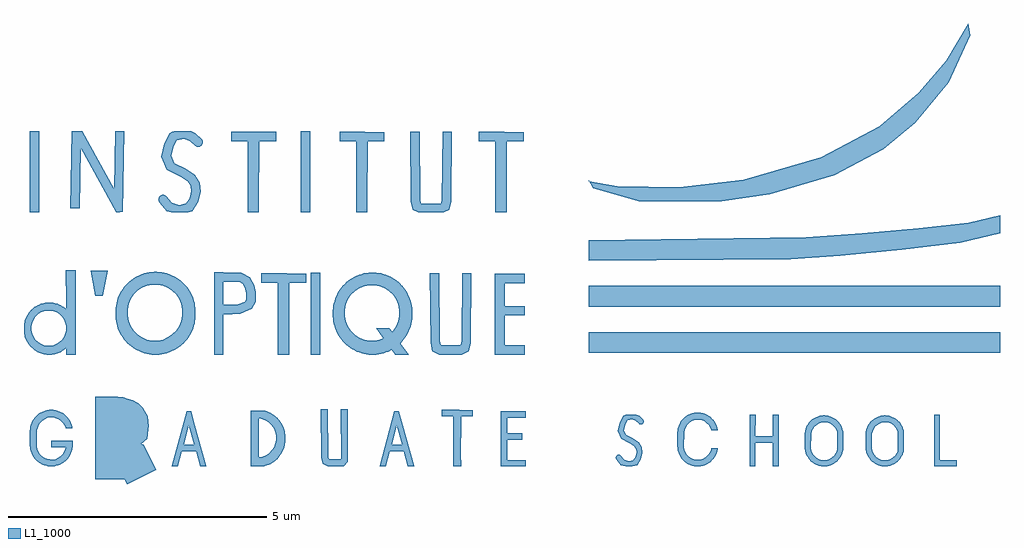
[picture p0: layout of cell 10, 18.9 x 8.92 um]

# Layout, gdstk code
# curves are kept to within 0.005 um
import gdstk
lib = gdstk.Library(unit=1e-6, precision=1e-09)
def R(c, l, rs):  # rectangles x0, y0, x1, y1
    for r in rs: c.add(gdstk.rectangle(r[:2], r[2:], *l))
def P(c, l, *ps):  # polygons
    for p in ps: c.add(gdstk.Polygon(p, *l))
L1_1000 = (1, 1000)

c_10 = lib.new_cell('10')
R(c_10, L1_1000, [(-38.244,58.999,-38.064,60.584), (-32.861,59.04,-24.9,59.437), (-32.861,59.933,-24.9,60.331), (-43.687,61.755,-43.507,63.325), (-38.436,61.755,-38.256,63.325)])
P(c_10, L1_1000, [(-37.914,56.838),(-38.013,56.888),(-38.041,57.011),(-38.049,57.942),(-37.917,57.942),(-37.909,57.027),(-37.898,56.978),(-37.883,56.971),(-37.671,56.971),(-37.659,56.986),(-37.667,57.942),(-37.535,57.942),(-37.535,56.928),(-37.61,56.838)],
  [(-37.37,61.755),(-37.37,63.135),(-37.687,63.135),(-37.687,63.315),(-37.197,63.315),(-37.197,63.312),(-36.82,63.312),(-36.82,63.135),(-37.147,63.135),(-37.153,61.91),(-37.153,61.91),(-37.153,61.755)],
  [(-34.672,61.755),(-34.672,63.135),(-34.99,63.135),(-34.99,63.315),(-34.499,63.315),(-34.499,63.312),(-34.122,63.312),(-34.122,63.135),(-34.45,63.135),(-34.455,61.91),(-34.455,61.91),(-34.455,61.755)],
  [(-36.165,61.755),(-36.27,61.807),(-36.307,61.976),(-36.319,63.314),(-36.139,63.314),(-36.127,61.996),(-36.113,61.93),(-36.092,61.92),(-35.741,61.92),(-35.721,61.93),(-35.706,61.996),(-35.694,63.314),(-35.514,63.314),(-35.526,61.975),(-35.563,61.807),(-35.668,61.755)],
  [(-40.12,58.999),(-40.12,60.593),(-39.59,60.589),(-39.433,60.504),(-39.378,60.409),(-39.94,60.409),(-39.94,59.964),(-39.773,59.964),(-39.655,59.973),(-39.52,60.029),(-39.495,60.075),(-39.495,60.189),(-39.511,60.28),(-39.564,60.37),(-39.636,60.409),(-39.378,60.409),(-39.34,60.344),(-39.315,60.205),(-39.315,60.028),(-39.393,59.886),(-39.613,59.796),(-39.766,59.784),(-39.94,59.784),(-39.94,58.999)],
  [(-38.885,58.999),(-38.885,60.395),(-39.202,60.395),(-39.202,60.575),(-38.712,60.575),(-38.712,60.572),(-38.335,60.572),(-38.335,60.395),(-38.662,60.395),(-38.668,59.17),(-38.668,59.17),(-38.668,58.999)],
  [(-37.074,58.999),(-37.217,59.017),(-37.355,59.062),(-37.44,59.106),(-37.52,59.16),(-37.625,59.259),(-37.71,59.376),(-37.754,59.461),(-37.787,59.552),(-37.814,59.694),(-37.817,59.849),(-37.799,59.992),(-37.754,60.129),(-37.71,60.215),(-37.656,60.295),(-37.557,60.4),(-37.44,60.485),(-37.31,60.546),(-37.17,60.582),(-37.026,60.591),(-36.882,60.573),(-36.745,60.529),(-36.619,60.459),(-36.542,60.4),(-36.49,60.348),(-37.113,60.348),(-37.215,60.328),(-37.31,60.288),(-37.397,60.231),(-37.47,60.157),(-37.528,60.071),(-37.568,59.975),(-37.588,59.873),(-37.588,59.747),(-37.568,59.645),(-37.528,59.549),(-37.47,59.463),(-37.397,59.389),(-37.31,59.331),(-37.215,59.292),(-37.113,59.272),(-37.009,59.272),(-36.907,59.292),(-36.839,59.32),(-36.981,59.513),(-36.725,59.513),(-36.673,59.441),(-36.594,59.549),(-36.554,59.645),(-36.534,59.747),(-36.534,59.873),(-36.554,59.975),(-36.594,60.071),(-36.651,60.157),(-36.725,60.231),(-36.811,60.288),(-36.907,60.328),(-37.009,60.348),(-36.49,60.348),(-36.389,60.215),(-36.328,60.085),(-36.292,59.945),(-36.283,59.742),(-36.301,59.599),(-36.346,59.461),(-36.415,59.335),(-36.511,59.22),(-36.351,59.002),(-36.606,59.002),(-36.676,59.097),(-36.79,59.044),(-36.882,59.017),(-36.978,59.002)],
  [(-35.433,58.999),(-35.755,59),(-35.891,59.067),(-35.928,59.236),(-35.94,60.574),(-35.76,60.574),(-35.748,59.256),(-35.734,59.19),(-35.713,59.18),(-35.581,59.179),(-35.363,59.179),(-35.342,59.19),(-35.327,59.256),(-35.316,60.574),(-35.136,60.574),(-35.147,59.235),(-35.184,59.067),(-35.32,58.999)],
  [(-34.682,58.999),(-34.682,60.566),(-34.671,60.566),(-34.671,60.566),(-34.103,60.566),(-34.103,60.386),(-34.491,60.386),(-34.491,59.943),(-34.103,59.943),(-34.103,59.763),(-34.491,59.763),(-34.491,59.179),(-34.103,59.179),(-34.103,58.999)],
  [(-35.488,56.838),(-35.488,57.806),(-35.708,57.806),(-35.708,57.931),(-35.368,57.931),(-35.368,57.928),(-35.107,57.928),(-35.107,57.806),(-35.334,57.806),(-35.338,56.957),(-35.337,56.957),(-35.337,56.838)],
  [(-34.571,56.838),(-34.571,57.904),(-34.563,57.904),(-34.563,57.904),(-34.079,57.904),(-34.079,57.782),(-34.44,57.782),(-34.44,57.481),(-34.151,57.481),(-34.151,57.358),(-34.44,57.358),(-34.44,56.961),(-34.079,56.961),(-34.079,56.838)],
  [(-26.177,56.838),(-26.177,57.837),(-26.063,57.837),(-26.063,56.952),(-25.738,56.952),(-25.738,56.838)],
  [(-42.274,60.139),(-42.424,60.143),(-42.508,60.626),(-42.496,60.626),(-42.496,60.629),(-42.175,60.629)],
  [(-42.986,58.999),(-42.986,59.125),(-43.065,59.067),(-43.119,59.039),(-43.207,59.011),(-43.267,59.002),(-43.328,59),(-43.419,59.011),(-43.506,59.039),(-43.587,59.084),(-43.635,59.121),(-43.698,59.188),(-43.76,59.293),(-43.794,59.41),(-43.798,59.569),(-43.781,59.659),(-43.76,59.717),(-43.698,59.822),(-43.611,59.909),(-43.534,59.958),(-43.478,59.982),(-43.358,60.008),(-43.236,60.005),(-43.148,59.982),(-43.092,59.958),(-42.986,59.885),(-42.991,60.637),(-42.8,60.637),(-42.801,59.856),(-43.353,59.856),(-43.418,59.843),(-43.478,59.818),(-43.533,59.781),(-43.58,59.735),(-43.616,59.68),(-43.642,59.619),(-43.655,59.554),(-43.655,59.474),(-43.642,59.41),(-43.616,59.349),(-43.58,59.294),(-43.533,59.247),(-43.478,59.211),(-43.418,59.185),(-43.353,59.172),(-43.287,59.172),(-43.222,59.185),(-43.161,59.211),(-43.106,59.247),(-43.06,59.294),(-43.023,59.349),(-42.998,59.41),(-42.986,59.468),(-42.986,59.561),(-42.998,59.619),(-43.023,59.68),(-43.06,59.735),(-43.106,59.781),(-43.161,59.818),(-43.222,59.843),(-43.287,59.856),(-42.801,59.856),(-42.801,58.999)],
  [(-42.018,61.755),(-42.703,63.008),(-42.725,61.832),(-42.905,61.835),(-42.878,63.33),(-42.674,63.33),(-42.057,62.202),(-42.036,63.33),(-41.856,63.33),(-41.885,61.77),(-41.947,61.755)],
  [(-39.467,61.755),(-39.467,63.135),(-39.785,63.135),(-39.785,63.315),(-38.917,63.315),(-38.917,63.135),(-39.245,63.135),(-39.251,61.91),(-39.25,61.91),(-39.25,61.755)],
  [(-40.949,61.755),(-41.038,61.779),(-41.182,61.954),(-41.197,62.004),(-41.19,62.039),(-41.17,62.068),(-41.124,62.093),(-41.072,62.088),(-41.042,62.068),(-40.935,61.938),(-40.792,61.899),(-40.656,61.932),(-40.59,62.03),(-40.561,62.166),(-40.572,62.271),(-40.629,62.357),(-40.76,62.443),(-41.036,62.581),(-41.138,62.837),(-41.082,63.085),(-40.974,63.288),(-40.928,63.317),(-40.895,63.325),(-40.564,63.325),(-40.483,63.292),(-40.359,63.175),(-40.338,63.127),(-40.341,63.092),(-40.357,63.06),(-40.399,63.03),(-40.452,63.029),(-40.484,63.045),(-40.582,63.138),(-40.697,63.184),(-40.843,63.152),(-40.912,63.022),(-40.95,62.852),(-40.894,62.712),(-40.67,62.599),(-40.498,62.487),(-40.398,62.333),(-40.379,62.156),(-40.422,61.958),(-40.545,61.774),(-40.622,61.755)],
  [(-43.285,56.838),(-43.387,56.855),(-43.482,56.896),(-43.564,56.959),(-43.628,57.041),(-43.661,57.111),(-43.68,57.186),(-43.685,57.533),(-43.669,57.635),(-43.64,57.708),(-43.598,57.773),(-43.545,57.83),(-43.504,57.862),(-43.412,57.909),(-43.337,57.928),(-43.259,57.933),(-43.133,57.909),(-43.062,57.875),(-42.999,57.83),(-42.946,57.773),(-42.905,57.708),(-42.876,57.635),(-42.863,57.575),(-42.992,57.575),(-43.014,57.634),(-43.045,57.681),(-43.084,57.721),(-43.13,57.752),(-43.181,57.774),(-43.236,57.786),(-43.292,57.787),(-43.347,57.776),(-43.445,57.725),(-43.485,57.686),(-43.517,57.64),(-43.55,57.534),(-43.554,57.229),(-43.544,57.174),(-43.523,57.122),(-43.453,57.036),(-43.407,57.004),(-43.356,56.982),(-43.301,56.971),(-43.245,56.97),(-43.19,56.98),(-43.092,57.031),(-43.052,57.07),(-43.02,57.117),(-42.99,57.207),(-43.269,57.207),(-43.269,57.333),(-42.858,57.333),(-42.858,57.207),(-42.884,57.111),(-42.905,57.063),(-42.946,56.998),(-42.999,56.941),(-43.108,56.872),(-43.208,56.843)],
  [(-40.936,56.838),(-40.653,57.909),(-40.564,57.909),(-40.49,57.637),(-40.607,57.637),(-40.707,57.26),(-40.504,57.26),(-40.607,57.637),(-40.49,57.637),(-40.272,56.838),(-40.389,56.838),(-40.469,57.132),(-40.741,57.132),(-40.819,56.838)],
  [(-30.767,56.838),(-30.864,56.854),(-30.955,56.893),(-31.032,56.953),(-31.093,57.031),(-31.124,57.098),(-31.143,57.169),(-31.147,57.499),(-31.138,57.572),(-31.115,57.642),(-31.065,57.727),(-31.014,57.78),(-30.955,57.824),(-30.888,57.855),(-30.792,57.877),(-30.743,57.878),(-30.622,57.855),(-30.556,57.824),(-30.496,57.78),(-30.445,57.727),(-30.406,57.664),(-30.386,57.619),(-30.367,57.538),(-30.489,57.538),(-30.51,57.594),(-30.539,57.639),(-30.576,57.677),(-30.62,57.707),(-30.668,57.727),(-30.72,57.739),(-30.773,57.739),(-30.875,57.71),(-30.919,57.681),(-30.957,57.644),(-30.987,57.6),(-31.008,57.551),(-31.019,57.499),(-31.023,57.21),(-31.013,57.157),(-30.993,57.108),(-30.927,57.026),(-30.883,56.996),(-30.835,56.975),(-30.783,56.964),(-30.729,56.963),(-30.677,56.973),(-30.628,56.993),(-30.584,57.022),(-30.546,57.059),(-30.516,57.103),(-30.488,57.185),(-30.366,57.185),(-30.379,57.121),(-30.406,57.052),(-30.445,56.99),(-30.496,56.936),(-30.556,56.893),(-30.622,56.862),(-30.694,56.843)],
  [(-29.748,56.838),(-29.748,57.841),(-29.634,57.841),(-29.635,57.417),(-29.303,57.417),(-29.303,57.841),(-29.184,57.841),(-29.184,56.838),(-29.303,56.838),(-29.303,57.292),(-29.635,57.292),(-29.635,56.838)],
  [(-27.141,56.838),(-27.233,56.853),(-27.318,56.89),(-27.392,56.947),(-27.449,57.021),(-27.479,57.084),(-27.499,57.175),(-27.5,57.464),(-27.492,57.533),(-27.47,57.6),(-27.423,57.68),(-27.375,57.731),(-27.318,57.772),(-27.255,57.802),(-27.187,57.819),(-27.118,57.823),(-27.026,57.809),(-26.961,57.783),(-26.884,57.731),(-26.846,57.692),(-27.147,57.692),(-27.243,57.664),(-27.321,57.601),(-27.369,57.514),(-27.379,57.465),(-27.383,57.19),(-27.355,57.094),(-27.327,57.052),(-27.251,56.987),(-27.155,56.957),(-27.105,56.957),(-27.055,56.966),(-26.967,57.012),(-26.902,57.089),(-26.883,57.135),(-26.877,57.164),(-26.877,57.502),(-26.897,57.554),(-26.924,57.596),(-27.001,57.661),(-27.047,57.681),(-27.147,57.692),(-26.846,57.692),(-26.822,57.661),(-26.788,57.6),(-26.762,57.51),(-26.762,57.151),(-26.78,57.084),(-26.809,57.021),(-26.851,56.964),(-26.902,56.916),(-27.003,56.86),(-27.071,56.843)],
  [(-41.277,58.999),(-41.421,59.017),(-41.515,59.045),(-41.604,59.083),(-41.727,59.161),(-41.833,59.261),(-41.892,59.338),(-41.942,59.421),(-41.995,59.556),(-42.023,59.7),(-42.026,59.856),(-42.017,59.952),(-41.995,60.047),(-41.942,60.183),(-41.864,60.305),(-41.764,60.411),(-41.646,60.497),(-41.515,60.559),(-41.373,60.595),(-41.228,60.604),(-41.084,60.586),(-40.991,60.559),(-40.901,60.521),(-40.779,60.442),(-40.688,60.359),(-41.316,60.359),(-41.419,60.339),(-41.516,60.299),(-41.603,60.241),(-41.677,60.166),(-41.735,60.079),(-41.775,59.983),(-41.795,59.88),(-41.795,59.753),(-41.775,59.65),(-41.735,59.554),(-41.677,59.467),(-41.603,59.392),(-41.516,59.334),(-41.419,59.294),(-41.316,59.274),(-41.212,59.274),(-41.108,59.294),(-41.012,59.334),(-40.925,59.392),(-40.851,59.467),(-40.793,59.554),(-40.753,59.65),(-40.732,59.753),(-40.732,59.88),(-40.753,59.983),(-40.793,60.079),(-40.851,60.166),(-40.925,60.241),(-41.012,60.299),(-41.108,60.339),(-41.212,60.359),(-40.688,60.359),(-40.641,60.305),(-40.587,60.225),(-40.525,60.093),(-40.489,59.952),(-40.48,59.748),(-40.489,59.651),(-40.51,59.556),(-40.563,59.421),(-40.641,59.298),(-40.741,59.192),(-40.859,59.107),(-40.991,59.045),(-41.132,59.008)],
  [(-32.861,60.821),(-32.861,61.219),(-28.656,61.277),(-27.57,61.353),(-26.469,61.448),(-25.508,61.557),(-24.9,61.696),(-24.9,61.351),(-25.666,61.164),(-26.799,61.028),(-27.998,60.92),(-28.955,60.848)],
  [(-31.893,61.975),(-32.776,62.225),(-32.859,62.375),(-32.859,62.358),(-32.309,62.258),(-31.11,62.242),(-29.86,62.391),(-28.361,62.825),(-27.228,63.425),(-26.478,64.075),(-25.945,64.691),(-25.511,65.408),(-25.479,65.191),(-25.895,64.274),(-26.545,63.491),(-27.161,62.975),(-28.111,62.475),(-29.36,62.108),(-30.293,61.975)],
  [(-39.401,56.838),(-39.409,56.841),(-39.409,57.915),(-39.127,57.913),(-39.004,57.86),(-38.886,57.765),(-39.253,57.765),(-39.253,57.014),(-39.177,57.028),(-39.11,57.056),(-39.05,57.096),(-38.999,57.147),(-38.958,57.207),(-38.93,57.274),(-38.916,57.345),(-38.916,57.433),(-38.93,57.504),(-38.958,57.571),(-38.999,57.631),(-39.05,57.682),(-39.11,57.723),(-39.177,57.75),(-39.248,57.765),(-38.886,57.765),(-38.834,57.7),(-38.8,57.642),(-38.754,57.516),(-38.742,57.416),(-38.744,57.308),(-38.754,57.242),(-38.786,57.146),(-38.834,57.058),(-38.898,56.98),(-39.004,56.898),(-39.095,56.855),(-39.152,56.838)],
  [(-36.911,56.838),(-36.627,57.909),(-36.539,57.909),(-36.464,57.637),(-36.582,57.637),(-36.682,57.26),(-36.479,57.26),(-36.582,57.637),(-36.464,57.637),(-36.246,56.838),(-36.364,56.838),(-36.444,57.132),(-36.716,57.132),(-36.794,56.838)],
  [(-32.147,56.838),(-32.24,56.863),(-32.33,56.974),(-32.34,57.005),(-32.33,57.037),(-32.304,57.058),(-32.261,57.058),(-32.175,56.963),(-32.085,56.939),(-31.999,56.96),(-31.958,57.021),(-31.939,57.107),(-31.946,57.173),(-31.982,57.227),(-32.065,57.281),(-32.239,57.369),(-32.303,57.53),(-32.267,57.686),(-32.2,57.814),(-32.15,57.837),(-31.941,57.837),(-31.89,57.817),(-31.812,57.743),(-31.799,57.713),(-31.81,57.67),(-31.838,57.652),(-31.87,57.651),(-31.89,57.661),(-31.952,57.719),(-32.025,57.748),(-32.117,57.728),(-32.16,57.646),(-32.184,57.539),(-32.149,57.451),(-32.008,57.38),(-31.9,57.309),(-31.837,57.212),(-31.824,57.101),(-31.852,56.976),(-31.929,56.86),(-32.018,56.838)],
  [(-28.319,56.838),(-28.411,56.853),(-28.496,56.89),(-28.57,56.947),(-28.627,57.021),(-28.657,57.084),(-28.677,57.175),(-28.678,57.464),(-28.664,57.556),(-28.648,57.6),(-28.614,57.661),(-28.553,57.731),(-28.496,57.772),(-28.433,57.802),(-28.365,57.819),(-28.295,57.823),(-28.226,57.815),(-28.138,57.783),(-28.079,57.746),(-28.024,57.692),(-28.324,57.692),(-28.42,57.664),(-28.463,57.636),(-28.498,57.601),(-28.527,57.56),(-28.547,57.514),(-28.557,57.465),(-28.56,57.19),(-28.551,57.141),(-28.532,57.094),(-28.47,57.016),(-28.428,56.988),(-28.333,56.957),(-28.283,56.957),(-28.233,56.966),(-28.144,57.012),(-28.108,57.047),(-28.06,57.135),(-28.054,57.164),(-28.055,57.502),(-28.075,57.555),(-28.102,57.597),(-28.179,57.661),(-28.225,57.681),(-28.324,57.692),(-28.024,57.692),(-28,57.661),(-27.957,57.578),(-27.939,57.506),(-27.939,57.156),(-27.976,57.041),(-28.014,56.982),(-28.061,56.931),(-28.118,56.89),(-28.181,56.86),(-28.249,56.843)])
c_10.add(gdstk.FlexPath([(-42.102,56.899),(-42.102,57.867),(-41.997,57.867),(-41.936,57.861),(-41.891,57.849),(-41.821,57.825),(-41.779,57.803),(-41.755,57.779),(-41.737,57.746),(-41.709,57.698),(-41.703,57.658),(-41.7,57.631),(-41.703,57.616),(-41.706,57.589),(-41.712,57.538),(-41.743,57.513),(-41.797,57.468),(-41.845,57.453),(-41.879,57.444),(-41.921,57.429),(-41.664,56.915)], 0.63, ends="round", simple_path=True, layer=1, datatype=1000))  # L1_1000

lib.write_gds('10.gds')
